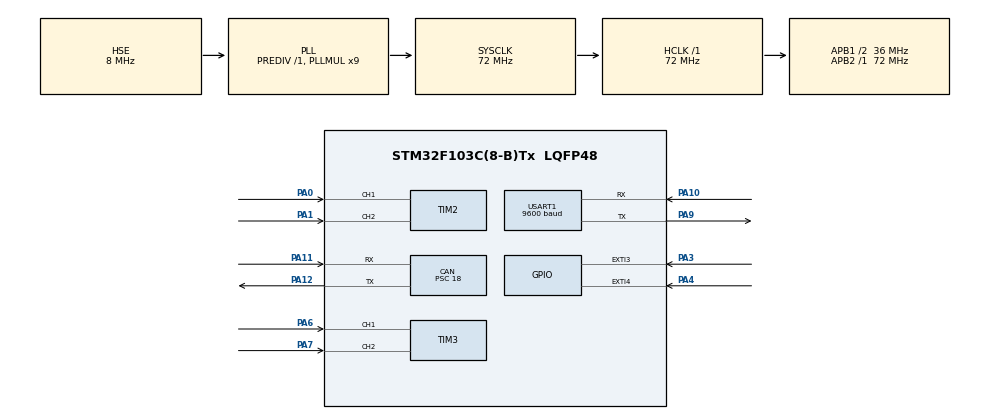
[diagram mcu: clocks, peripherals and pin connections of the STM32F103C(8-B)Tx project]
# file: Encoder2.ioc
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CAN.BS1=CAN_BS1_2TQ
CAN.CalculateBaudRate=500000
CAN.CalculateTimeBit=2000
CAN.CalculateTimeQuantum=500.0
CAN.NART=ENABLE
CAN.Prescaler=18
Mcu.Family=STM32F1
Mcu.Name=STM32F103C(8-B)Tx
Mcu.Package=LQFP48
NVIC.CAN1_RX1_IRQn=true\:2\:0\:true\:false\:true\:true\:true\:true
NVIC.EXTI3_IRQn=true\:1\:0\:true\:false\:true\:true\:true\:true
NVIC.EXTI4_IRQn=true\:1\:0\:true\:false\:true\:true\:true\:true
NVIC.PriorityGroup=NVIC_PRIORITYGROUP_4
NVIC.USART1_IRQn=true\:3\:0\:true\:false\:true\:true\:true\:true
NVIC.USB_HP_CAN1_TX_IRQn=true\:2\:0\:true\:false\:true\:true\:true\:true
NVIC.USB_LP_CAN1_RX0_IRQn=true\:2\:0\:true\:false\:true\:true\:true\:true
PA0-WKUP.GPIO_PuPd=GPIO_PULLUP
PA0-WKUP.Signal=S_TIM2_CH1_ETR
PA1.GPIO_PuPd=GPIO_PULLUP
PA1.Signal=S_TIM2_CH2
PA10.Mode=Asynchronous
PA10.Signal=USART1_RX
PA11.Mode=CAN_Activate
PA11.Signal=CAN_RX
PA12.Mode=CAN_Activate
PA12.Signal=CAN_TX
PA13.Mode=Serial_Wire
PA13.Signal=SYS_JTMS-SWDIO
PA14.Mode=Serial_Wire
PA14.Signal=SYS_JTCK-SWCLK
PA3.GPIO_ModeDefaultEXTI=GPIO_MODE_IT_FALLING
PA3.GPIO_PuPd=GPIO_PULLUP
PA3.Signal=GPXTI3
PA4.GPIO_ModeDefaultEXTI=GPIO_MODE_IT_FALLING
PA4.GPIO_PuPd=GPIO_PULLUP
PA4.Signal=GPXTI4
PA6.GPIO_PuPd=GPIO_PULLUP
PA6.Signal=S_TIM3_CH1
PA7.GPIO_PuPd=GPIO_PULLUP
PA7.Signal=S_TIM3_CH2
PA9.Mode=Asynchronous
PA9.Signal=USART1_TX
PD0-OSC_IN.Mode=HSE-External-Oscillator
PD0-OSC_IN.Signal=RCC_OSC_IN
PD1-OSC_OUT.Mode=HSE-External-Oscillator
PD1-OSC_OUT.Signal=RCC_OSC_OUT
ProjectManager.HeapSize=0x200
ProjectManager.StackSize=0x400
ProjectManager.TargetToolchain=MDK-ARM V5.32
RCC.AHBFreq_Value=72000000
RCC.APB1CLKDivider=RCC_HCLK_DIV2
RCC.APB1Freq_Value=36000000
RCC.APB1TimFreq_Value=72000000
RCC.APB2Freq_Value=72000000
RCC.APB2TimFreq_Value=72000000
RCC.HCLKFreq_Value=72000000
RCC.PLLMUL=RCC_PLL_MUL9
RCC.PLLSourceVirtual=RCC_PLLSOURCE_HSE
RCC.SYSCLKFreq_VALUE=72000000
RCC.SYSCLKSource=RCC_SYSCLKSOURCE_PLLCLK
RCC.USBFreq_Value=72000000
SH.S_TIM2_CH1_ETR.0=TIM2_CH1,Encoder_Interface
SH.S_TIM2_CH2.0=TIM2_CH2,Encoder_Interface
SH.S_TIM3_CH1.0=TIM3_CH1,Encoder_Interface
SH.S_TIM3_CH2.0=TIM3_CH2,Encoder_Interface
TIM2.EncoderMode=TIM_ENCODERMODE_TI12
TIM3.EncoderMode=TIM_ENCODERMODE_TI12
USART1.BaudRate=9600
USART1.VirtualMode=VM_ASYNC
board=custom

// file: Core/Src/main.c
/* USER CODE BEGIN Header */
/**
  ******************************************************************************
  * @file           : main.c
  * @brief          : Main program body
  ******************************************************************************
  * @attention
  *
  * Copyright (c) 2024 STMicroelectronics.
  * All rights reserved.
  *
  * This software is licensed under terms that can be found in the LICENSE file
  * in the root directory of this software component.
  * If no LICENSE file comes with this software, it is provided AS-IS.
  *
  ******************************************************************************
  */
/* USER CODE END Header */
#include "main.h"

/* USER CODE BEGIN Includes */
#include "Canbus.h"
#include "EncoderPosition.h"
#include "WIT.h"
/* USER CODE END Includes */

CAN_HandleTypeDef hcan;

TIM_HandleTypeDef htim2;
TIM_HandleTypeDef htim3;

UART_HandleTypeDef huart1;

/* USER CODE BEGIN PV */
Encoder_HandleTypeDef encoderx;
Encoder_HandleTypeDef encodery;
/* USER CODE END PV */

void SystemClock_Config(void);
static void MX_GPIO_Init(void);
static void MX_TIM2_Init(void);
static void MX_TIM3_Init(void);
static void MX_USART1_UART_Init(void);
static void MX_CAN_Init(void);

/* USER CODE BEGIN 0 */
//Khai báo bien cho Encoder

uint8_t encoderx_flag;
uint8_t encodery_flag;
uint8_t encoder_start_flag;

//Khai báo bien cho IMU
uint8_t 					WIT_rx;
Angle_ReadTypeDef angle;
uint8_t 					IMU_start_flag;
uint8_t 					IMU_data[6];

//Khai báo bien cho CAN
CAN_SensorTypeDef 	Encoder;
CAN_SensorTypeDef		IMU;
CAN_FIFO_RxTypeDef	FIFO0_Rx;
CAN_FilterTypeDef 	can_filter;

//Ngat ngoai GPIO cua Encoder xung Z
void HAL_GPIO_EXTI_Callback(uint16_t GPIO_Pin)
{
	if (!encoder_start_flag) //Chua có lênh cua master chua khoi dông
	return;

	if (GPIO_Pin == ZX_PIN && Encoder_Offset_Detect(&encoderx)) //Tinh do lech cua gôc O theo phuong Ox
	{
		encoderx_flag = 1;
	}
	if (GPIO_Pin == ZY_PIN && Encoder_Offset_Detect(&encodery)) //Tinh do lech cua gôc O theo phuong Oy
	{
		encodery_flag = 1;
	}
}

//Ngat ngoai UART cua IMU
void HAL_UART_RxCpltCallback(UART_HandleTypeDef *huart)
{
	if (huart->Instance == huart1.Instance)
	{
		WIT_Data_In(WIT_rx);
		HAL_UART_Receive_IT(&huart1, &WIT_rx, 1);
	}
}

//Nhân lênh CAN cho Encoder & IMU
void HAL_CAN_RxFifo0MsgPendingCallback(CAN_HandleTypeDef *hcan)
{
	CAN_Fifo_RxFlag(hcan, CAN_RX_FIFO0, &FIFO0_Rx);
}
//Lênh Reset Sensor chung
void CAN_Sensor_Reset(CAN_SensorTypeDef *Sensor)
{
	if (Sensor->RxHeader.StdId == IMU.RxHeader.StdId)
	{
		WIT_Reset_Flag();
		FIFO0_Rx.Header.StdId = 0;
	}
	if (Sensor->RxHeader.StdId == Encoder.RxHeader.StdId)
	{
		Encoder_Reset(&encoderx, &htim2);
		Encoder_Reset(&encodery, &htim3);
		FIFO0_Rx.Header.StdId = 0;
	}
}

/* USER CODE END 0 */

int main(void)
{

  /* MCU Configuration--------------------------------------------------------*/

  /* Reset of all peripherals, Initializes the Flash interface and the Systick. */
  HAL_Init();

  /* Configure the system clock */
  SystemClock_Config();

  /* Initialize all configured peripherals */
  MX_GPIO_Init();
  MX_TIM2_Init();
  MX_TIM3_Init();
  MX_USART1_UART_Init();
  MX_CAN_Init();
  /* USER CODE BEGIN 2 */

	//Khoi tao CAN cho Slave
	HAL_CAN_Start(&hcan);
	CAN_Sensor_TxHeader_Init(&Encoder, ENC_SID, ENC_FBID, ENC_TXID, ENC_RSID);
	CAN_Sensor_TxHeader_Init(&IMU, IMU_SID, IMU_FBID, IMU_TXID, IMU_RSID);
	HAL_CAN_ActivateNotification(&hcan, CAN_IT_RX_FIFO0_MSG_PENDING);//Bât thông báo ngat ngoài
	CAN_Filter_Config(&hcan, &can_filter, 0, CAN_RX_FIFO0, SLA_FILID, SLA_FILIDM);

  /* USER CODE END 2 */

  /* Infinite loop */
  while (1)
  {

    /* USER CODE BEGIN 3 */
		//Feedback sau khi nhan tan so
		CAN_Sensor_Feedback(&hcan, &FIFO0_Rx, &Encoder);
		CAN_Sensor_Feedback(&hcan, &FIFO0_Rx, &IMU);
		//Xu li reset sau khi nhan lenh reset tu master
		CAN_Sensor_ResetHandle(&Encoder, &FIFO0_Rx);
		CAN_Sensor_ResetHandle(&IMU, &FIFO0_Rx);

		//Bat dau Timer
		if (!encoder_start_flag && CAN_Sensor_GetFbFlag(&Encoder))
		{
			HAL_TIM_Encoder_Start(&htim2, TIM_CHANNEL_ALL);
			HAL_TIM_Encoder_Start(&htim3, TIM_CHANNEL_ALL);
			encoder_start_flag = 1;
		}

		//Bat dau IMU
		if (!IMU_start_flag && CAN_Sensor_GetFbFlag(&IMU))
		{
			HAL_UART_Receive_IT(&huart1, &WIT_rx, 1);
			IMU_start_flag = 1;
		}

		//Reset môc 0 cho Z
	  WIT_Reset_Zero(&huart1);
		//Nhân và luu góc vào angle và byte vào IMU_data dê truyên cho master
	  WIT_Data_Process(&angle, IMU_data);

		//Hiêu chinh sai sô thông qua xung Z
		if (encoderx_flag)
		{
			Encoder_Pulse_Calibration(&encoderx);
			encoderx_flag = 0;
		}
		if (encodery_flag)
		{
			Encoder_Pulse_Calibration(&encodery);
			encodery_flag = 0;
		}

		//Tính toán vi trí Encoder
		Encoder_Position_Handle(&encoderx, &htim2, 1000, 50);
		Encoder_Position_Handle(&encodery, &htim3, 1000, 50);

		//Gui data thu dc qua CAN
		CAN_Float_TxData(&hcan, &Encoder, encoderx.position, X_POS_ADDR);
		CAN_Float_TxData(&hcan, &Encoder, encodery.position, Y_POS_ADDR);
		CAN_Float_TxData(&hcan, &IMU, angle.x, X_ANG_ADDR);
		CAN_Float_TxData(&hcan, &IMU, angle.y, Y_ANG_ADDR);
		CAN_Float_TxData(&hcan, &IMU, angle.z, Z_ANG_ADDR);
  }
  /* USER CODE END 3 */
}

void SystemClock_Config(void)
{
  RCC_OscInitTypeDef RCC_OscInitStruct = {0};
  RCC_ClkInitTypeDef RCC_ClkInitStruct = {0};

  /** Initializes the RCC Oscillators according to the specified parameters
  * in the RCC_OscInitTypeDef structure.
  */
  RCC_OscInitStruct.OscillatorType = RCC_OSCILLATORTYPE_HSE;
  RCC_OscInitStruct.HSEState = RCC_HSE_ON;
  RCC_OscInitStruct.HSEPredivValue = RCC_HSE_PREDIV_DIV1;
  RCC_OscInitStruct.HSIState = RCC_HSI_ON;
  RCC_OscInitStruct.PLL.PLLState = RCC_PLL_ON;
  RCC_OscInitStruct.PLL.PLLSource = RCC_PLLSOURCE_HSE;
  RCC_OscInitStruct.PLL.PLLMUL = RCC_PLL_MUL9;
  if (HAL_RCC_OscConfig(&RCC_OscInitStruct) != HAL_OK)
  {
    Error_Handler();
  }

  /** Initializes the CPU, AHB and APB buses clocks
  */
  RCC_ClkInitStruct.ClockType = RCC_CLOCKTYPE_HCLK|RCC_CLOCKTYPE_SYSCLK
                              |RCC_CLOCKTYPE_PCLK1|RCC_CLOCKTYPE_PCLK2;
  RCC_ClkInitStruct.SYSCLKSource = RCC_SYSCLKSOURCE_PLLCLK;
  RCC_ClkInitStruct.AHBCLKDivider = RCC_SYSCLK_DIV1;
  RCC_ClkInitStruct.APB1CLKDivider = RCC_HCLK_DIV2;
  RCC_ClkInitStruct.APB2CLKDivider = RCC_HCLK_DIV1;

  if (HAL_RCC_ClockConfig(&RCC_ClkInitStruct, FLASH_LATENCY_2) != HAL_OK)
  {
    Error_Handler();
  }
}

static void MX_CAN_Init(void)
{

  hcan.Instance = CAN1;
  hcan.Init.Prescaler = 18;
  hcan.Init.Mode = CAN_MODE_NORMAL;
  hcan.Init.SyncJumpWidth = CAN_SJW_1TQ;
  hcan.Init.TimeSeg1 = CAN_BS1_2TQ;
  hcan.Init.TimeSeg2 = CAN_BS2_1TQ;
  hcan.Init.TimeTriggeredMode = DISABLE;
  hcan.Init.AutoBusOff = DISABLE;
  hcan.Init.AutoWakeUp = DISABLE;
  hcan.Init.AutoRetransmission = ENABLE;
  hcan.Init.ReceiveFifoLocked = DISABLE;
  hcan.Init.TransmitFifoPriority = DISABLE;
  if (HAL_CAN_Init(&hcan) != HAL_OK)
  {
    Error_Handler();
  }

}

static void MX_TIM2_Init(void)
{

  TIM_Encoder_InitTypeDef sConfig = {0};
  TIM_MasterConfigTypeDef sMasterConfig = {0};

  htim2.Instance = TIM2;
  htim2.Init.Prescaler = 0;
  htim2.Init.CounterMode = TIM_COUNTERMODE_UP;
  htim2.Init.Period = 65535;
  htim2.Init.ClockDivision = TIM_CLOCKDIVISION_DIV1;
  htim2.Init.AutoReloadPreload = TIM_AUTORELOAD_PRELOAD_DISABLE;
  sConfig.EncoderMode = TIM_ENCODERMODE_TI12;
  sConfig.IC1Polarity = TIM_ICPOLARITY_RISING;
  sConfig.IC1Selection = TIM_ICSELECTION_DIRECTTI;
  sConfig.IC1Prescaler = TIM_ICPSC_DIV1;
  sConfig.IC1Filter = 0;
  sConfig.IC2Polarity = TIM_ICPOLARITY_RISING;
  sConfig.IC2Selection = TIM_ICSELECTION_DIRECTTI;
  sConfig.IC2Prescaler = TIM_ICPSC_DIV1;
  sConfig.IC2Filter = 0;
  if (HAL_TIM_Encoder_Init(&htim2, &sConfig) != HAL_OK)
  {
    Error_Handler();
  }
  sMasterConfig.MasterOutputTrigger = TIM_TRGO_RESET;
  sMasterConfig.MasterSlaveMode = TIM_MASTERSLAVEMODE_DISABLE;
  if (HAL_TIMEx_MasterConfigSynchronization(&htim2, &sMasterConfig) != HAL_OK)
  {
    Error_Handler();
  }

}

static void MX_TIM3_Init(void)
{

  TIM_Encoder_InitTypeDef sConfig = {0};
  TIM_MasterConfigTypeDef sMasterConfig = {0};

  htim3.Instance = TIM3;
  htim3.Init.Prescaler = 0;
  htim3.Init.CounterMode = TIM_COUNTERMODE_UP;
  htim3.Init.Period = 65535;
  htim3.Init.ClockDivision = TIM_CLOCKDIVISION_DIV1;
  htim3.Init.AutoReloadPreload = TIM_AUTORELOAD_PRELOAD_DISABLE;
  sConfig.EncoderMode = TIM_ENCODERMODE_TI12;
  sConfig.IC1Polarity = TIM_ICPOLARITY_RISING;
  sConfig.IC1Selection = TIM_ICSELECTION_DIRECTTI;
  sConfig.IC1Prescaler = TIM_ICPSC_DIV1;
  sConfig.IC1Filter = 0;
  sConfig.IC2Polarity = TIM_ICPOLARITY_RISING;
  sConfig.IC2Selection = TIM_ICSELECTION_DIRECTTI;
  sConfig.IC2Prescaler = TIM_ICPSC_DIV1;
  sConfig.IC2Filter = 0;
  if (HAL_TIM_Encoder_Init(&htim3, &sConfig) != HAL_OK)
  {
    Error_Handler();
  }
  sMasterConfig.MasterOutputTrigger = TIM_TRGO_RESET;
  sMasterConfig.MasterSlaveMode = TIM_MASTERSLAVEMODE_DISABLE;
  if (HAL_TIMEx_MasterConfigSynchronization(&htim3, &sMasterConfig) != HAL_OK)
  {
    Error_Handler();
  }

}

static void MX_USART1_UART_Init(void)
{

  huart1.Instance = USART1;
  huart1.Init.BaudRate = 9600;
  huart1.Init.WordLength = UART_WORDLENGTH_8B;
  huart1.Init.StopBits = UART_STOPBITS_1;
  huart1.Init.Parity = UART_PARITY_NONE;
  huart1.Init.Mode = UART_MODE_TX_RX;
  huart1.Init.HwFlowCtl = UART_HWCONTROL_NONE;
  huart1.Init.OverSampling = UART_OVERSAMPLING_16;
  if (HAL_UART_Init(&huart1) != HAL_OK)
  {
    Error_Handler();
  }

}

static void MX_GPIO_Init(void)
{
  GPIO_InitTypeDef GPIO_InitStruct = {0};

  /* GPIO Ports Clock Enable */
  __HAL_RCC_GPIOD_CLK_ENABLE();
  __HAL_RCC_GPIOA_CLK_ENABLE();

  /*Configure GPIO pins : PA3 PA4 */
  GPIO_InitStruct.Pin = GPIO_PIN_3|GPIO_PIN_4;
  GPIO_InitStruct.Mode = GPIO_MODE_IT_FALLING;
  GPIO_InitStruct.Pull = GPIO_PULLUP;
  HAL_GPIO_Init(GPIOA, &GPIO_InitStruct);

  /* EXTI interrupt init*/
  HAL_NVIC_SetPriority(EXTI3_IRQn, 1, 0);
  HAL_NVIC_EnableIRQ(EXTI3_IRQn);

  HAL_NVIC_SetPriority(EXTI4_IRQn, 1, 0);
  HAL_NVIC_EnableIRQ(EXTI4_IRQn);

}

void Error_Handler(void)
{
  __disable_irq();
  while (1)
  {
  }
}
